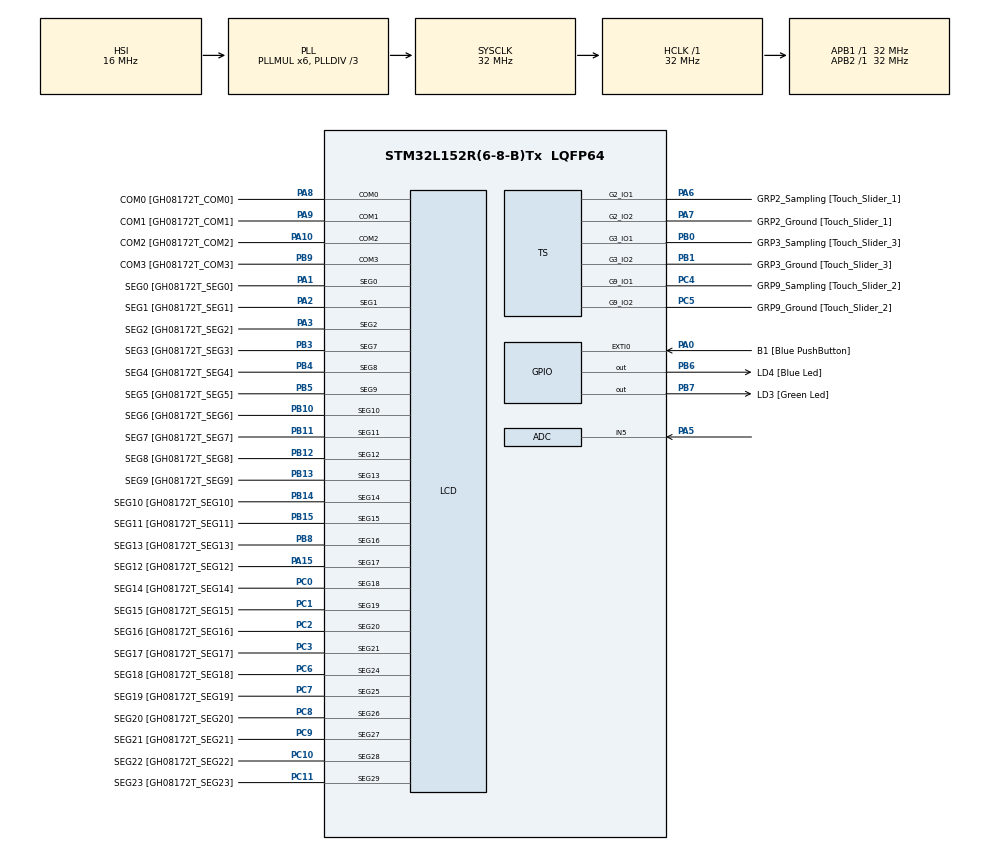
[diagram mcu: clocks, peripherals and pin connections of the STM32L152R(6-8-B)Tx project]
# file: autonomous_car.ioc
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ADC.Channel-0\#ChannelRegularConversion=ADC_CHANNEL_5
ADC.ExternalTrigConv=ADC_EXTERNALTRIGCONV_T2_CC3
ADC.ExternalTrigConvEdge=ADC_EXTERNALTRIGCONVEDGE_RISING
ADC.Rank-0\#ChannelRegularConversion=1
ADC.SamplingTime-0\#ChannelRegularConversion=ADC_SAMPLETIME_4CYCLES
Mcu.Family=STM32L1
Mcu.Name=STM32L152R(6-8-B)Tx
Mcu.Package=LQFP64
NVIC.PriorityGroup=NVIC_PRIORITYGROUP_0
PA0-WKUP1.GPIO_Label=B1 [Blue PushButton]
PA0-WKUP1.GPIO_ModeDefaultEXTI=GPIO_MODE_EVT_RISING
PA0-WKUP1.GPIO_PuPd=GPIO_NOPULL
PA0-WKUP1.Signal=GPXTI0
PA1.GPIO_Label=SEG0 [GH08172T_SEG0]
PA1.GPIO_Mode=GPIO_MODE_AF_PP
PA1.GPIO_PuPd=GPIO_NOPULL
PA1.GPIO_Speed=GPIO_SPEED_FREQ_LOW
PA1.Mode=SEG0
PA1.Signal=LCD_SEG0
PA10.GPIO_Label=COM2 [GH08172T_COM2]
PA10.GPIO_Mode=GPIO_MODE_AF_PP
PA10.GPIO_PuPd=GPIO_NOPULL
PA10.GPIO_Speed=GPIO_SPEED_FREQ_LOW
PA10.Mode=1/4 Duty Cycle
PA10.Signal=LCD_COM2
PA13.GPIO_Label=SWDIO
PA13.Mode=Serial_Wire
PA13.Signal=SYS_JTMS-SWDIO
PA14.GPIO_Label=SWCLK
PA14.Mode=Serial_Wire
PA14.Signal=SYS_JTCK-SWCLK
PA15.GPIO_Label=SEG12 [GH08172T_SEG12]
PA15.GPIO_Mode=GPIO_MODE_AF_PP
PA15.GPIO_PuPd=GPIO_NOPULL
PA15.GPIO_Speed=GPIO_SPEED_FREQ_LOW
PA15.Mode=SEG17
PA15.Signal=LCD_SEG17
PA2.GPIO_Label=SEG1 [GH08172T_SEG1]
PA2.GPIO_Mode=GPIO_MODE_AF_PP
PA2.GPIO_PuPd=GPIO_NOPULL
PA2.GPIO_Speed=GPIO_SPEED_FREQ_LOW
PA2.Mode=SEG1
PA2.Signal=LCD_SEG1
PA3.GPIO_Label=SEG2 [GH08172T_SEG2]
PA3.GPIO_Mode=GPIO_MODE_AF_PP
PA3.GPIO_PuPd=GPIO_NOPULL
PA3.GPIO_Speed=GPIO_SPEED_FREQ_LOW
PA3.Mode=SEG2
PA3.Signal=LCD_SEG2
PA4.GPIO_Label=IDD_Measurement
PA4.GPIO_Mode=GPIO_MODE_ANALOG
PA4.GPIO_PuPd=GPIO_NOPULL
PA4.Signal=ADC_IN4
PA5.Mode=IN5
PA5.Signal=ADC_IN5
PA6.GPIO_Label=GRP2_Sampling [Touch_Slider_1]
PA6.Mode=G2_IO1-Sampling
PA6.Signal=TS_G2_IO1
PA7.GPIO_Label=GRP2_Ground [Touch_Slider_1]
PA7.Mode=G2_IO2-Channel
PA7.Signal=TS_G2_IO2
PA8.GPIO_Label=COM0 [GH08172T_COM0]
PA8.GPIO_Mode=GPIO_MODE_AF_PP
PA8.GPIO_PuPd=GPIO_NOPULL
PA8.GPIO_Speed=GPIO_SPEED_FREQ_LOW
PA8.Mode=1/4 Duty Cycle
PA8.Signal=LCD_COM0
PA9.GPIO_Label=COM1 [GH08172T_COM1]
PA9.GPIO_Mode=GPIO_MODE_AF_PP
PA9.GPIO_PuPd=GPIO_NOPULL
PA9.GPIO_Speed=GPIO_SPEED_FREQ_LOW
PA9.Mode=1/4 Duty Cycle
PA9.Signal=LCD_COM1
PB0.GPIO_Label=GRP3_Sampling [Touch_Slider_3]
PB0.Mode=G3_IO1-Sampling
PB0.Signal=TS_G3_IO1
PB1.GPIO_Label=GRP3_Ground [Touch_Slider_3]
PB1.Mode=G3_IO2-Channel
PB1.Signal=TS_G3_IO2
PB10.GPIO_Label=SEG6 [GH08172T_SEG6]
PB10.GPIO_Mode=GPIO_MODE_AF_PP
PB10.GPIO_PuPd=GPIO_NOPULL
PB10.GPIO_Speed=GPIO_SPEED_FREQ_LOW
PB10.Mode=SEG10
PB10.Signal=LCD_SEG10
PB11.GPIO_Label=SEG7 [GH08172T_SEG7]
PB11.GPIO_Mode=GPIO_MODE_AF_PP
PB11.GPIO_PuPd=GPIO_NOPULL
PB11.GPIO_Speed=GPIO_SPEED_FREQ_LOW
PB11.Mode=SEG11
PB11.Signal=LCD_SEG11
PB12.GPIO_Label=SEG8 [GH08172T_SEG8]
PB12.GPIO_Mode=GPIO_MODE_AF_PP
PB12.GPIO_PuPd=GPIO_NOPULL
PB12.GPIO_Speed=GPIO_SPEED_FREQ_LOW
PB12.Mode=SEG12
PB12.Signal=LCD_SEG12
PB13.GPIO_Label=SEG9 [GH08172T_SEG9]
PB13.GPIO_Mode=GPIO_MODE_AF_PP
PB13.GPIO_PuPd=GPIO_NOPULL
PB13.GPIO_Speed=GPIO_SPEED_FREQ_LOW
PB13.Mode=SEG13
PB13.Signal=LCD_SEG13
PB14.GPIO_Label=SEG10 [GH08172T_SEG10]
PB14.GPIO_Mode=GPIO_MODE_AF_PP
PB14.GPIO_PuPd=GPIO_NOPULL
PB14.GPIO_Speed=GPIO_SPEED_FREQ_LOW
PB14.Mode=SEG14
PB14.Signal=LCD_SEG14
PB15.GPIO_Label=SEG11 [GH08172T_SEG11]
PB15.GPIO_Mode=GPIO_MODE_AF_PP
PB15.GPIO_PuPd=GPIO_NOPULL
PB15.GPIO_Speed=GPIO_SPEED_FREQ_LOW
PB15.Mode=SEG15
PB15.Signal=LCD_SEG15
PB3.GPIO_Label=SEG3 [GH08172T_SEG3]
PB3.GPIO_Mode=GPIO_MODE_AF_PP
PB3.GPIO_PuPd=GPIO_NOPULL
PB3.GPIO_Speed=GPIO_SPEED_FREQ_LOW
PB3.Mode=SEG7
PB3.Signal=LCD_SEG7
PB4.GPIO_Label=SEG4 [GH08172T_SEG4]
PB4.GPIO_Mode=GPIO_MODE_AF_PP
PB4.GPIO_PuPd=GPIO_NOPULL
PB4.GPIO_Speed=GPIO_SPEED_FREQ_LOW
PB4.Mode=SEG8
PB4.Signal=LCD_SEG8
PB5.GPIO_Label=SEG5 [GH08172T_SEG5]
PB5.GPIO_Mode=GPIO_MODE_AF_PP
PB5.GPIO_PuPd=GPIO_NOPULL
PB5.GPIO_Speed=GPIO_SPEED_FREQ_LOW
PB5.Mode=SEG9
PB5.Signal=LCD_SEG9
PB6.GPIO_Label=LD4 [Blue Led]
PB6.GPIO_ModeDefaultOutputPP=GPIO_MODE_OUTPUT_PP
PB6.GPIO_PuPd=GPIO_NOPULL
PB6.GPIO_Speed=GPIO_SPEED_FREQ_LOW
PB6.Signal=GPIO_Output
PB7.GPIO_Label=LD3 [Green Led]
PB7.GPIO_ModeDefaultOutputPP=GPIO_MODE_OUTPUT_PP
PB7.GPIO_PuPd=GPIO_NOPULL
PB7.GPIO_Speed=GPIO_SPEED_FREQ_LOW
PB7.Signal=GPIO_Output
PB8.GPIO_Label=SEG13 [GH08172T_SEG13]
PB8.GPIO_Mode=GPIO_MODE_AF_PP
PB8.GPIO_PuPd=GPIO_NOPULL
PB8.GPIO_Speed=GPIO_SPEED_FREQ_LOW
PB8.Mode=SEG16
PB8.Signal=LCD_SEG16
PB9.GPIO_Label=COM3 [GH08172T_COM3]
PB9.GPIO_Mode=GPIO_MODE_AF_PP
PB9.GPIO_PuPd=GPIO_NOPULL
PB9.GPIO_Speed=GPIO_SPEED_FREQ_LOW
PB9.Mode=1/4 Duty Cycle
PB9.Signal=LCD_COM3
PC0.GPIO_Label=SEG14 [GH08172T_SEG14]
PC0.GPIO_Mode=GPIO_MODE_AF_PP
PC0.GPIO_PuPd=GPIO_NOPULL
PC0.GPIO_Speed=GPIO_SPEED_FREQ_LOW
PC0.Mode=SEG18
PC0.Signal=LCD_SEG18
PC1.GPIO_Label=SEG15 [GH08172T_SEG15]
PC1.GPIO_Mode=GPIO_MODE_AF_PP
PC1.GPIO_PuPd=GPIO_NOPULL
PC1.GPIO_Speed=GPIO_SPEED_FREQ_LOW
PC1.Mode=SEG19
PC1.Signal=LCD_SEG19
PC10.GPIO_Label=SEG22 [GH08172T_SEG22]
PC10.GPIO_Mode=GPIO_MODE_AF_PP
PC10.GPIO_PuPd=GPIO_NOPULL
PC10.GPIO_Speed=GPIO_SPEED_FREQ_LOW
PC10.Mode=SEG28
PC10.Signal=LCD_SEG28
PC11.GPIO_Label=SEG23 [GH08172T_SEG23]
PC11.GPIO_Mode=GPIO_MODE_AF_PP
PC11.GPIO_PuPd=GPIO_NOPULL
PC11.GPIO_Speed=GPIO_SPEED_FREQ_LOW
PC11.Mode=SEG29
PC11.Signal=LCD_SEG29
PC14-OSC32_IN.GPIO_Label=PC14-OSC32_IN
PC14-OSC32_IN.Mode=LSE-External-Oscillator
PC14-OSC32_IN.Signal=RCC_OSC32_IN
PC15-OSC32_OUT.GPIO_Label=PC15-OSC32_OUT
PC15-OSC32_OUT.Mode=LSE-External-Oscillator
PC15-OSC32_OUT.Signal=RCC_OSC32_OUT
PC2.GPIO_Label=SEG16 [GH08172T_SEG16]
PC2.GPIO_Mode=GPIO_MODE_AF_PP
PC2.GPIO_PuPd=GPIO_NOPULL
PC2.GPIO_Speed=GPIO_SPEED_FREQ_LOW
PC2.Mode=SEG20
PC2.Signal=LCD_SEG20
PC3.GPIO_Label=SEG17 [GH08172T_SEG17]
PC3.GPIO_Mode=GPIO_MODE_AF_PP
PC3.GPIO_PuPd=GPIO_NOPULL
PC3.GPIO_Speed=GPIO_SPEED_FREQ_LOW
PC3.Mode=SEG21
PC3.Signal=LCD_SEG21
PC4.GPIO_Label=GRP9_Sampling [Touch_Slider_2]
PC4.Mode=G9_IO1-Sampling
PC4.Signal=TS_G9_IO1
PC5.GPIO_Label=GRP9_Ground [Touch_Slider_2]
PC5.Mode=G9_IO2-Channel
PC5.Signal=TS_G9_IO2
PC6.GPIO_Label=SEG18 [GH08172T_SEG18]
PC6.GPIO_Mode=GPIO_MODE_AF_PP
PC6.GPIO_PuPd=GPIO_NOPULL
PC6.GPIO_Speed=GPIO_SPEED_FREQ_LOW
PC6.Mode=SEG24
PC6.Signal=LCD_SEG24
PC7.GPIO_Label=SEG19 [GH08172T_SEG19]
PC7.GPIO_Mode=GPIO_MODE_AF_PP
PC7.GPIO_PuPd=GPIO_NOPULL
PC7.GPIO_Speed=GPIO_SPEED_FREQ_LOW
PC7.Mode=SEG25
PC7.Signal=LCD_SEG25
PC8.GPIO_Label=SEG20 [GH08172T_SEG20]
PC8.GPIO_Mode=GPIO_MODE_AF_PP
PC8.GPIO_PuPd=GPIO_NOPULL
PC8.GPIO_Speed=GPIO_SPEED_FREQ_LOW
PC8.Mode=SEG26
PC8.Signal=LCD_SEG26
PC9.GPIO_Label=SEG21 [GH08172T_SEG21]
PC9.GPIO_Mode=GPIO_MODE_AF_PP
PC9.GPIO_PuPd=GPIO_NOPULL
PC9.GPIO_Speed=GPIO_SPEED_FREQ_LOW
PC9.Mode=SEG27
PC9.Signal=LCD_SEG27
ProjectManager.HeapSize=0x200
ProjectManager.StackSize=0x400
ProjectManager.TargetToolchain=STM32CubeIDE
RCC.48MHZClocksFreq_Value=48000000
RCC.AHBFreq_Value=32000000
RCC.APB1Freq_Value=32000000
RCC.APB1TimFreq_Value=32000000
RCC.APB2Freq_Value=32000000
RCC.APB2TimFreq_Value=32000000
RCC.HCLKFreq_Value=32000000
RCC.HSE_VALUE=8000000
RCC.HSI_VALUE=16000000
RCC.MSI_VALUE=2097000
RCC.PLLDIV=RCC_PLL_DIV3
RCC.PLLMUL=RCC_PLL_MUL6
RCC.RTCClockSelectionVirtual=RCC_RTCCLKSOURCE_LSE
RCC.SYSCLKFreq_VALUE=32000000
RCC.SYSCLKSource=RCC_SYSCLKSOURCE_PLLCLK
RCC.USBOutput=48000000
RCC.VCOOutputFreq_Value=96000000
VP_TIM2_VS_ClockSourceINT.Mode=Internal
VP_TIM3_VS_ClockSourceINT.Mode=Internal
VP_TIM4_VS_ClockSourceINT.Mode=Internal
board=STM32L-DISCOVERY

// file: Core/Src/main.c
/* USER CODE BEGIN Header */
/**
  ******************************************************************************
  * @file           : main.c
  * @brief          : Main program body
  ******************************************************************************
  * @attention
  *
  * Copyright (c) 2024 STMicroelectronics.
  * All rights reserved.
  *
  * This software is licensed under terms that can be found in the LICENSE file
  * in the root directory of this software component.
  * If no LICENSE file comes with this software, it is provided AS-IS.
  *
  ******************************************************************************
  */
/* USER CODE END Header */
#include "main.h"

/* USER CODE BEGIN PD */
#define selection 4
#define MOTOR_A_IN1_PIN GPIO_PIN_6 // PC6
#define MOTOR_A_IN2_PIN GPIO_PIN_7 // PC7
#define MOTOR_B_IN3_PIN GPIO_PIN_8 // PC8
#define MOTOR_B_IN4_PIN GPIO_PIN_9 // PC9
/* USER CODE END PD */

ADC_HandleTypeDef hadc;

LCD_HandleTypeDef hlcd;

TIM_HandleTypeDef htim2;
TIM_HandleTypeDef htim3;
TIM_HandleTypeDef htim4;

/* USER CODE BEGIN PV */
unsigned char SENSOR_1 = 0; // 0 for white 1 for black
unsigned char SENSOR_2 = 0;
unsigned char state;
unsigned int velocidades[selection + 1] = {0, 1023, 2047, 3071, 4095};
unsigned short valor = 0;
/* USER CODE END PV */

void SystemClock_Config(void);
static void MX_GPIO_Init(void);
static void MX_ADC_Init(void);
static void MX_LCD_Init(void);
static void MX_TS_Init(void);
static void MX_TIM3_Init(void);
static void MX_TIM4_Init(void);
static void MX_TIM2_Init(void);

/* USER CODE BEGIN 0 */
void stopWheels(void) {
    // Stop both motors
    GPIOC->BSRR = (GPIO_PIN_6 | GPIO_PIN_8 ) << 16;
}
void moveForward(void) {
    // Move both motors forward
    GPIOC->BSRR = GPIO_PIN_6 | GPIO_PIN_8;
    GPIOC->BSRR = (GPIO_PIN_7 | GPIO_PIN_9) << 16; // Apagar el sentido contrario
}

void rightWheel(void) {
    // Turn right by moving right motor forward and left motor backward
    GPIOC->BSRR = GPIO_PIN_9;
    GPIOC->BSRR = GPIO_PIN_6;
    GPIOC->BSRR = (GPIO_PIN_7 | GPIO_PIN_8) << 16; // Apagar el sentido contrario
}

void leftWheel(void) {
    // Turn left by moving left motor forward and right motor backward
    GPIOC->BSRR = GPIO_PIN_7;
    GPIOC->BSRR = GPIO_PIN_8;
    GPIOC->BSRR = (GPIO_PIN_6 | GPIO_PIN_9) << 16; // Apagar el sentido contrario
}

void moveBackward(void) {
    // Move both motors backward
    GPIOC->BSRR = GPIO_PIN_7 | GPIO_PIN_9;
    GPIOC->BSRR = (GPIO_PIN_6 | GPIO_PIN_8) << 16;
}
void EXTI1_IRQHandler(void){  //for the right sensor
	if(EXTI -> PR == (1<<1)){
		SENSOR_1 = 1;
		EXTI -> PR |= (1<<1); // clean the flags with a 1
	}

}

void EXTI2_IRQHandler(void){  //for the left sensor
	if(EXTI -> PR == (1<<2)){
		SENSOR_2 = 1;
			EXTI -> PR |= (1<<2); //clean the flags with a 1
		}

}

void TIM4_IRQHandler(void){
	if((TIM4->SR & (1<<1))!=0){
	if(state == 0){
		state = 1;
	}
	else{
		state = 0;
	}

	TIM4->CCR1 += 250;

	TIM4->SR &= ~(1<<1);
}
}
void ADC1_IRQHandler(void) {
    if ((ADC1->SR & (1<<1)) != 0) {
        valor = ADC1->DR; // Lee el valor del ADC

    }
}

void ajustarVelocidad(unsigned short valor) {
	unsigned int velocidad = 0;
	for(unsigned int i = 0; i<selection; i++){
	    if(velocidades[i]<= valor && valor <=velocidades[i+1]){
	    	if (valor <= velocidades[1]) {
	    		        velocidad = 50;
	    		        TIM3->CCR2 = velocidad;
	    		        TIM3->CCR4 = velocidad;

	    		    } else if (valor <= velocidades[2]) {
	    		        velocidad = 70;
	    		        TIM3->CCR2 = velocidad;
	    		        TIM3->CCR4 = velocidad;

	    		    } else if (valor <= velocidades[3]) {
	    		        velocidad = 100;
	    		        TIM3->CCR2 = velocidad;
	    		        TIM3->CCR4 = velocidad;

	    		    }
	    }
	}
}
/* USER CODE END 0 */

int main(void)
{

  /* MCU Configuration--------------------------------------------------------*/

  /* Reset of all peripherals, Initializes the Flash interface and the Systick. */
  HAL_Init();

  /* Configure the system clock */
  SystemClock_Config();

  /* Initialize all configured peripherals */
  MX_GPIO_Init();
  MX_ADC_Init();
  MX_LCD_Init();
  MX_TS_Init();
  MX_TIM3_Init();
  MX_TIM4_Init();
  MX_TIM2_Init();
  /* USER CODE BEGIN 2 */
  GPIOC->MODER &= ~(1 << (6*2+1));
  GPIOC->MODER |= (1 << (6*2));

  GPIOC->MODER |= (1 << (7*2+1));
  GPIOC->MODER &= ~(1 << (7*2));
  GPIOC->AFR[0]=0x20000000;

  GPIOC->MODER &= ~(1<<(8*2+1));
  	GPIOC->MODER |= (1<<(8*2));

  GPIOC->MODER 	|=  (1<<(9*2+1));
  	GPIOC->MODER 	&= ~(1<<(9*2));
  	GPIOC->AFR[1] = 0x00000020; //TIM3 para el PC9 (ver apuntes GPIO)

    // PC1 & PC2 as digital input (00)
    GPIOC->MODER &= ~(1 << (1*2+1));
    GPIOC->MODER &= ~(1 << (1*2));

    GPIOC->MODER &= ~(1 << (2*2+1));
    GPIOC->MODER &= ~(1 << (2*2));

    GPIOA->MODER &= ~(1 << (0*2+1));
    GPIOA->MODER &= ~(1 << (0*2));
    //Configure the EXTI1
    //Hacemos la interrupcion del primer infrarrojo
    SYSCFG -> EXTICR[0] = 0;
    EXTI -> IMR |= (1<<1);
    EXTI -> RTSR |= (1<<1);
    EXTI -> FTSR |= (1<<1);
    NVIC->ISER[0] |= (1 << 7);  //EXTI1 posicion 7

     //Configure the EXTI2
    SYSCFG -> EXTICR[0] = 0;
    EXTI -> IMR |= (1<<2);
    EXTI -> RTSR |= (1<<2);
    EXTI -> FTSR |= (1<<2);
    NVIC->ISER[0] |= (1 << 8); //EXTI2 posicion 8

     //Configure buzzer
     GPIOB->MODER &= ~(1 << (8 * 2));
     GPIOB->MODER |= (1 << (8 * 2+1));
     //Configuration TIM4
     TIM4->CR1 = 0;
     TIM4->CR2 = 0;
     TIM4->SMCR = 0;

     TIM4->CNT = 0;
     TIM4->PSC = 31999;
     TIM4->ARR = 0xFFFF;
     TIM4->CCR1 = 250;

     TIM4->CCMR1 = 0;
     TIM4->CCMR2 = 0;
     TIM4->CCER = 0;

     TIM4->DIER = (1<<1);

     TIM4->EGR |= 0x0001;
     TIM4->SR = 0;
     TIM4->CR1 |= 0x0001;

     NVIC->ISER[0] |= (1 << 30);

     //PA5 as an input(00)
           GPIOA->MODER |= 0x00000C00;

       	ADC1 -> CR2 &= ~(0x00000001);//MAKE SURE THE POWER IS OFF
       	ADC1 -> CR1 = 0x00000020;
       	ADC1 -> CR2 = 0x00000412;
       	ADC1 -> SQR1 = 0x00000000;//I JUST WANT ONE CONVERSION
       	ADC1 -> SQR5 = 0x00000005;
       	ADC1 -> CR2 |= 0x00000001;//POWER ON
       	 while ((ADC1->SR&0x0040)==0); // If ADCONS = 0, I wait till converter is ready
       	 ADC1->CR2 |= 0x40000000;
       	 NVIC->ISER[0] |= (1<<18);
       	// PWM Configuration for pin PC6 and channel 1 of TIM3
       	TIM3->CR1 = 0x0000; // Disable TIM3
       	TIM3->CR2 = 0x0000; // Trigger mode configuration
       	TIM3->SMCR = 0; // Synchronization control configuration

       	TIM3->PSC = 319; // Prescaler configuration
       	TIM3->CNT = 0; // Initialize counter
       	TIM3->ARR = 99; // Auto-reload value configuration
       	TIM3->CCR2 = 1; // Duty cycle configuration (DC debe estar definido previamente)
       	TIM3->CCR4 = 1;

       	TIM3->DIER = 0x0000; // Disable interrupts
       	TIM3->DCR = 0;
       	//PC7 ch2

       	TIM3->CCMR1 |= (1<<(5*2+1)); // Clear channel 1 configuration bits
     	TIM3->CCMR1 |= (1<<(7*2));	//1
     	TIM3->CCMR1 |= (1<<(6*2+1));	//1
     	TIM3->CCMR1 &= ~(1<<(6*2));	//0
     	//PC9 ch4
     	TIM3->CCMR2 |= (1<<(5*2+1));	//PE
     	//Los 3 siguientes para PWM (ver manual)
     	TIM3->CCMR2 |= (1<<(7*2));	//1
     	TIM3->CCMR2 |= (1<<(6*2+1));	//1
     	TIM3->CCMR2 &= ~(1<<(6*2));	//0

     	TIM3->CCER |= (1<<(2*2));		//CC1E
     	TIM3->CCER |= (1<<(6*2));		//CC1E
     	TIM3->CR1 |= (1<<(3*2+1));		//HW (bit ARPE)
     	TIM3->EGR |= (1<<0);		//UG
     	TIM3->CR1 |= (1<<0);		//ON
     	TIM3->SR = 0;				//FLAG

     	TIM3->CCR2 = 20;
    	TIM3->CCR4 = 20;

         NVIC->ISER[0] |= (1 << 29);

  /* USER CODE END 2 */

  /* Infinite loop */
  while (1)
  {
	  if(((GPIOC->IDR&(1<<1))!=0) && ((GPIOC->IDR&(1<<2))!=0)){
	 	  	stopWheels();
	 	  	GPIOB->MODER = (1<<(8*2));

	 	  	  }
	 	  	  else if(((GPIOC->IDR&(1<<1))!=0) && ((GPIOC->IDR&(1<<2))==0)){
	 	  		  rightWheel();
	 	  		 if(state == 1){
	 	  			GPIOB->MODER = (1<<(8*2));
	 	  					 	  }
	 	  					 	  else{
	 	  					 		GPIOB->MODER = ~(1<<(8*2));
	 	  					 	  }

	 	  	  }
	 	  	  else if(((GPIOC->IDR&(1<<1))==0) && ((GPIOC->IDR&(1<<2))!=0)){

	 	  		  leftWheel();
	 	  		 if(state == 1){
	 	  			GPIOB->MODER = (1<<(8*2));
	 	  					 	  }
	 	  					 	  else{
	 	  					 		GPIOB->MODER = ~(1<<(8*2));
	 	  					 	  }
	 	  	  }
	 	  	  else if(((GPIOC->IDR&(1<<1))==0) && ((GPIOC->IDR&(1<<2))==0)){
	 	  		  moveForward();
	 	  		GPIOB->MODER = ~(1<<(8*2));
	 	  	  }
	 	  SENSOR_1=0;
	 	  SENSOR_2=0;
  }
}

void SystemClock_Config(void)
{
  RCC_OscInitTypeDef RCC_OscInitStruct = {0};
  RCC_ClkInitTypeDef RCC_ClkInitStruct = {0};
  RCC_PeriphCLKInitTypeDef PeriphClkInit = {0};

  /** Configure the main internal regulator output voltage
  */
  __HAL_PWR_VOLTAGESCALING_CONFIG(PWR_REGULATOR_VOLTAGE_SCALE1);

  /** Initializes the RCC Oscillators according to the specified parameters
  * in the RCC_OscInitTypeDef structure.
  */
  RCC_OscInitStruct.OscillatorType = RCC_OSCILLATORTYPE_HSI|RCC_OSCILLATORTYPE_LSE;
  RCC_OscInitStruct.LSEState = RCC_LSE_ON;
  RCC_OscInitStruct.HSIState = RCC_HSI_ON;
  RCC_OscInitStruct.HSICalibrationValue = RCC_HSICALIBRATION_DEFAULT;
  RCC_OscInitStruct.PLL.PLLState = RCC_PLL_ON;
  RCC_OscInitStruct.PLL.PLLSource = RCC_PLLSOURCE_HSI;
  RCC_OscInitStruct.PLL.PLLMUL = RCC_PLL_MUL6;
  RCC_OscInitStruct.PLL.PLLDIV = RCC_PLL_DIV3;
  if (HAL_RCC_OscConfig(&RCC_OscInitStruct) != HAL_OK)
  {
    Error_Handler();
  }

  /** Initializes the CPU, AHB and APB buses clocks
  */
  RCC_ClkInitStruct.ClockType = RCC_CLOCKTYPE_HCLK|RCC_CLOCKTYPE_SYSCLK
                              |RCC_CLOCKTYPE_PCLK1|RCC_CLOCKTYPE_PCLK2;
  RCC_ClkInitStruct.SYSCLKSource = RCC_SYSCLKSOURCE_PLLCLK;
  RCC_ClkInitStruct.AHBCLKDivider = RCC_SYSCLK_DIV1;
  RCC_ClkInitStruct.APB1CLKDivider = RCC_HCLK_DIV1;
  RCC_ClkInitStruct.APB2CLKDivider = RCC_HCLK_DIV1;

  if (HAL_RCC_ClockConfig(&RCC_ClkInitStruct, FLASH_LATENCY_1) != HAL_OK)
  {
    Error_Handler();
  }
  PeriphClkInit.PeriphClockSelection = RCC_PERIPHCLK_RTC|RCC_PERIPHCLK_LCD;
  PeriphClkInit.RTCClockSelection = RCC_RTCCLKSOURCE_LSE;
  PeriphClkInit.LCDClockSelection = RCC_RTCCLKSOURCE_LSE;

  if (HAL_RCCEx_PeriphCLKConfig(&PeriphClkInit) != HAL_OK)
  {
    Error_Handler();
  }
}

static void MX_ADC_Init(void)
{

  ADC_ChannelConfTypeDef sConfig = {0};

  /** Configure the global features of the ADC (Clock, Resolution, Data Alignment and number of conversion)
  */
  hadc.Instance = ADC1;
  hadc.Init.ClockPrescaler = ADC_CLOCK_ASYNC_DIV1;
  hadc.Init.Resolution = ADC_RESOLUTION_12B;
  hadc.Init.DataAlign = ADC_DATAALIGN_RIGHT;
  hadc.Init.ScanConvMode = ADC_SCAN_DISABLE;
  hadc.Init.EOCSelection = ADC_EOC_SEQ_CONV;
  hadc.Init.LowPowerAutoWait = ADC_AUTOWAIT_DISABLE;
  hadc.Init.LowPowerAutoPowerOff = ADC_AUTOPOWEROFF_DISABLE;
  hadc.Init.ChannelsBank = ADC_CHANNELS_BANK_A;
  hadc.Init.ContinuousConvMode = DISABLE;
  hadc.Init.NbrOfConversion = 1;
  hadc.Init.DiscontinuousConvMode = DISABLE;
  hadc.Init.ExternalTrigConv = ADC_EXTERNALTRIGCONV_T2_CC3;
  hadc.Init.ExternalTrigConvEdge = ADC_EXTERNALTRIGCONVEDGE_RISING;
  hadc.Init.DMAContinuousRequests = DISABLE;
  if (HAL_ADC_Init(&hadc) != HAL_OK)
  {
    Error_Handler();
  }

  /** Configure for the selected ADC regular channel its corresponding rank in the sequencer and its sample time.
  */
  sConfig.Channel = ADC_CHANNEL_5;
  sConfig.Rank = ADC_REGULAR_RANK_1;
  sConfig.SamplingTime = ADC_SAMPLETIME_4CYCLES;
  if (HAL_ADC_ConfigChannel(&hadc, &sConfig) != HAL_OK)
  {
    Error_Handler();
  }

}

static void MX_LCD_Init(void)
{

  hlcd.Instance = LCD;
  hlcd.Init.Prescaler = LCD_PRESCALER_1;
  hlcd.Init.Divider = LCD_DIVIDER_16;
  hlcd.Init.Duty = LCD_DUTY_1_4;
  hlcd.Init.Bias = LCD_BIAS_1_4;
  hlcd.Init.VoltageSource = LCD_VOLTAGESOURCE_INTERNAL;
  hlcd.Init.Contrast = LCD_CONTRASTLEVEL_0;
  hlcd.Init.DeadTime = LCD_DEADTIME_0;
  hlcd.Init.PulseOnDuration = LCD_PULSEONDURATION_0;
  hlcd.Init.MuxSegment = LCD_MUXSEGMENT_DISABLE;
  hlcd.Init.BlinkMode = LCD_BLINKMODE_OFF;
  hlcd.Init.BlinkFrequency = LCD_BLINKFREQUENCY_DIV8;
  if (HAL_LCD_Init(&hlcd) != HAL_OK)
  {
    Error_Handler();
  }

}

static void MX_TIM2_Init(void)
{

  TIM_ClockConfigTypeDef sClockSourceConfig = {0};
  TIM_MasterConfigTypeDef sMasterConfig = {0};

  htim2.Instance = TIM2;
  htim2.Init.Prescaler = 0;
  htim2.Init.CounterMode = TIM_COUNTERMODE_UP;
  htim2.Init.Period = 65535;
  htim2.Init.ClockDivision = TIM_CLOCKDIVISION_DIV1;
  htim2.Init.AutoReloadPreload = TIM_AUTORELOAD_PRELOAD_DISABLE;
  if (HAL_TIM_Base_Init(&htim2) != HAL_OK)
  {
    Error_Handler();
  }
  sClockSourceConfig.ClockSource = TIM_CLOCKSOURCE_INTERNAL;
  if (HAL_TIM_ConfigClockSource(&htim2, &sClockSourceConfig) != HAL_OK)
  {
    Error_Handler();
  }
  sMasterConfig.MasterOutputTrigger = TIM_TRGO_RESET;
  sMasterConfig.MasterSlaveMode = TIM_MASTERSLAVEMODE_DISABLE;
  if (HAL_TIMEx_MasterConfigSynchronization(&htim2, &sMasterConfig) != HAL_OK)
  {
    Error_Handler();
  }

}

static void MX_TIM3_Init(void)
{

  TIM_ClockConfigTypeDef sClockSourceConfig = {0};
  TIM_MasterConfigTypeDef sMasterConfig = {0};

  htim3.Instance = TIM3;
  htim3.Init.Prescaler = 0;
  htim3.Init.CounterMode = TIM_COUNTERMODE_UP;
  htim3.Init.Period = 65535;
  htim3.Init.ClockDivision = TIM_CLOCKDIVISION_DIV1;
  htim3.Init.AutoReloadPreload = TIM_AUTORELOAD_PRELOAD_DISABLE;
  if (HAL_TIM_Base_Init(&htim3) != HAL_OK)
  {
    Error_Handler();
  }
  sClockSourceConfig.ClockSource = TIM_CLOCKSOURCE_INTERNAL;
  if (HAL_TIM_ConfigClockSource(&htim3, &sClockSourceConfig) != HAL_OK)
  {
    Error_Handler();
  }
  sMasterConfig.MasterOutputTrigger = TIM_TRGO_RESET;
  sMasterConfig.MasterSlaveMode = TIM_MASTERSLAVEMODE_DISABLE;
  if (HAL_TIMEx_MasterConfigSynchronization(&htim3, &sMasterConfig) != HAL_OK)
  {
    Error_Handler();
  }

}

static void MX_TIM4_Init(void)
{

  TIM_ClockConfigTypeDef sClockSourceConfig = {0};
  TIM_MasterConfigTypeDef sMasterConfig = {0};

  htim4.Instance = TIM4;
  htim4.Init.Prescaler = 0;
  htim4.Init.CounterMode = TIM_COUNTERMODE_UP;
  htim4.Init.Period = 65535;
  htim4.Init.ClockDivision = TIM_CLOCKDIVISION_DIV1;
  htim4.Init.AutoReloadPreload = TIM_AUTORELOAD_PRELOAD_DISABLE;
  if (HAL_TIM_Base_Init(&htim4) != HAL_OK)
  {
    Error_Handler();
  }
  sClockSourceConfig.ClockSource = TIM_CLOCKSOURCE_INTERNAL;
  if (HAL_TIM_ConfigClockSource(&htim4, &sClockSourceConfig) != HAL_OK)
  {
    Error_Handler();
  }
  sMasterConfig.MasterOutputTrigger = TIM_TRGO_RESET;
  sMasterConfig.MasterSlaveMode = TIM_MASTERSLAVEMODE_DISABLE;
  if (HAL_TIMEx_MasterConfigSynchronization(&htim4, &sMasterConfig) != HAL_OK)
  {
    Error_Handler();
  }

}

static void MX_TS_Init(void)
{

}

static void MX_GPIO_Init(void)
{
  GPIO_InitTypeDef GPIO_InitStruct = {0};

  /* GPIO Ports Clock Enable */
  __HAL_RCC_GPIOC_CLK_ENABLE();
  __HAL_RCC_GPIOA_CLK_ENABLE();
  __HAL_RCC_GPIOB_CLK_ENABLE();

  /*Configure GPIO pin Output Level */
  HAL_GPIO_WritePin(GPIOB, LD4_Pin|LD3_Pin, GPIO_PIN_RESET);

  /*Configure GPIO pin : B1_Pin */
  GPIO_InitStruct.Pin = B1_Pin;
  GPIO_InitStruct.Mode = GPIO_MODE_EVT_RISING;
  GPIO_InitStruct.Pull = GPIO_NOPULL;
  HAL_GPIO_Init(B1_GPIO_Port, &GPIO_InitStruct);

  /*Configure GPIO pins : LD4_Pin LD3_Pin */
  GPIO_InitStruct.Pin = LD4_Pin|LD3_Pin;
  GPIO_InitStruct.Mode = GPIO_MODE_OUTPUT_PP;
  GPIO_InitStruct.Pull = GPIO_NOPULL;
  GPIO_InitStruct.Speed = GPIO_SPEED_FREQ_LOW;
  HAL_GPIO_Init(GPIOB, &GPIO_InitStruct);

}

void Error_Handler(void)
{
  __disable_irq();
  while (1)
  {
  }
}
